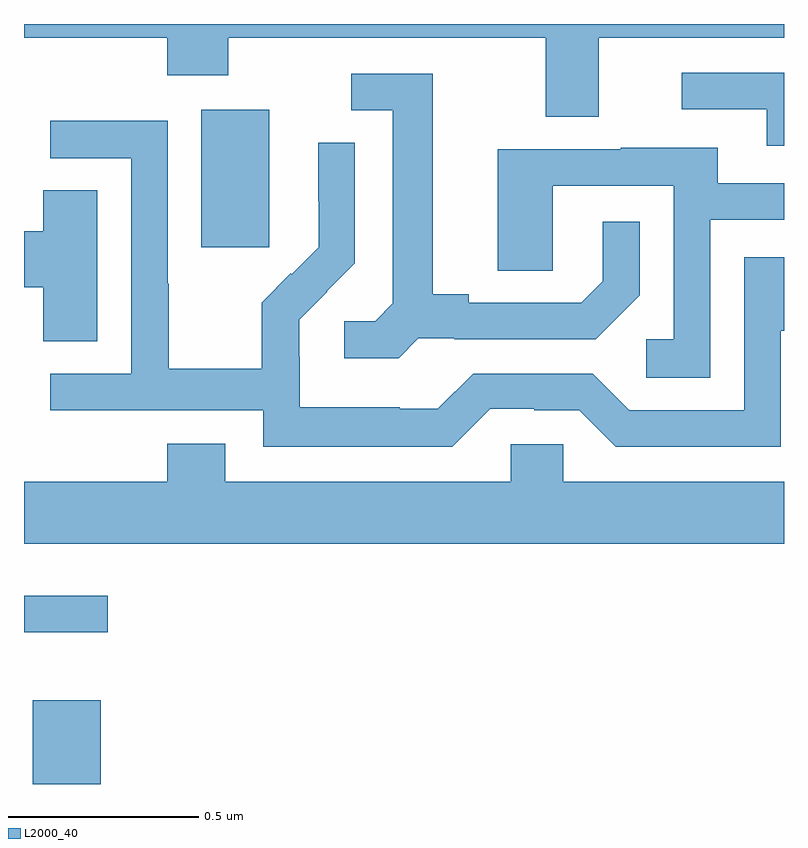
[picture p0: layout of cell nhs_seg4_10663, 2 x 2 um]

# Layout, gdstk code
import gdstk
lib = gdstk.Library(unit=1e-6, precision=1e-09)
def R(c, l, rs):  # rectangles x0, y0, x1, y1
    for r in rs: c.add(gdstk.rectangle(r[:2], r[2:], *l))
def P(c, l, *ps):  # polygons
    for p in ps: c.add(gdstk.Polygon(p, *l))
L2000_40 = (2000, 40)

nhs_seg4_10663 = lib.new_cell('nhs_seg4_10663')
R(nhs_seg4_10663, L2000_40, [(243.023,750.9,243.202,751.12), (243,751.299,243.22,751.396), (243.467,752.313,243.646,752.674)])
P(nhs_seg4_10663, L2000_40, [(244.513,752.864),(245,752.864),(245,752.9),(243,752.9),(243,752.864),(243.377,752.864),(243.377,752.765),(243.537,752.765),(243.537,752.864),(244.373,752.864),(244.373,752.656),(244.513,752.656)],
  [(245,752.772),(244.731,752.772),(244.731,752.676),(244.955,752.676),(244.955,752.58),(245,752.58)],
  [(244.038,752.073),(244.132,752.073),(244.132,752.07),(244.504,752.07),(244.62,752.186),(244.62,752.38),(244.523,752.38),(244.523,752.223),(244.466,752.166),(244.171,752.166),(244.171,752.189),(244.075,752.189),(244.075,752.769),(243.861,752.769),(243.861,752.673),(243.971,752.673),(243.971,752.165),(243.924,752.118),(243.843,752.118),(243.843,752.021),(243.986,752.021)],
  [(244.227,751.887),(244.343,751.887),(244.343,751.884),(244.461,751.884),(244.557,751.788),(244.992,751.788),(244.992,752.093),(245,752.093),(245,752.286),(244.896,752.286),(244.896,751.884),(244.593,751.884),(244.497,751.98),(244.182,751.98),(244.089,751.887),(243.989,751.887),(243.989,751.891),(243.726,751.891),(243.726,752.025),(243.724,752.025),(243.724,752.122),(243.798,752.196),(243.797,752.197),(243.87,752.27),(243.87,752.588),(243.774,752.588),(243.774,752.434),(243.776,752.434),(243.776,752.312),(243.705,752.241),(243.702,752.244),(243.625,752.167),(243.625,751.993),(243.381,751.993),(243.381,752.216),(243.378,752.216),(243.378,752.646),(243.069,752.646),(243.069,752.547),(243.282,752.547),(243.282,751.98),(243.069,751.98),(243.069,751.884),(243.63,751.884),(243.63,751.787),(244.127,751.787)],
  [(244.806,752.385),(245,752.385),(245,752.481),(244.825,752.481),(244.825,752.575),(244.571,752.575),(244.571,752.571),(244.247,752.571),(244.247,752.251),(244.392,752.251),(244.392,752.475),(244.71,752.475),(244.71,752.07),(244.638,752.07),(244.638,751.969),(244.806,751.969)],
  [(243.193,752.462),(243.05,752.462),(243.05,752.354),(243,752.354),(243,752.207),(243.05,752.207),(243.05,752.065),(243.193,752.065)],
  [(245,751.696),(244.419,751.696),(244.419,751.794),(244.281,751.794),(244.281,751.696),(243.529,751.696),(243.529,751.795),(243.377,751.795),(243.377,751.696),(243,751.696),(243,751.532),(245,751.532)])

lib.write_gds('nhs_seg4_10663.gds')
